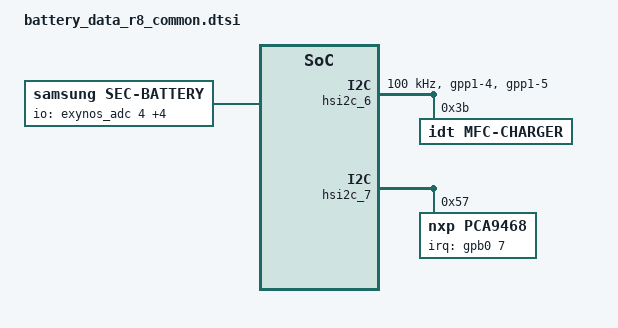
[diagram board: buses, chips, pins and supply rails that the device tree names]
/*
 * SAMSUNG UNIVERSAL9830 board device tree source
 *
 * Copyright (c) 2018 Samsung Electronics Co., Ltd.
 *		http://www.samsung.com
 *
 * This program is free software; you can redistribute it and/or modify
 * it under the terms of the GNU General Public License version 2 as
 * published by the Free Software Foundation.
 */

/ {
	fragment@battery {
		target-path = "/";
		__overlay__ {
			sec-direct-charger {
				status = "okay";
				compatible = "samsung,sec-direct-charger";

				charger,battery_name = "battery";
				charger,main_charger = "max77705-charger";
				charger,direct_charger = "pca9468-charger";

				charger,dchg_min_current = <2000>;
				charger,dchg_temp_low_threshold = <180>;
				charger,dchg_temp_high_threshold = <420>;
			};

			battery {
				status = "okay";
				compatible = "samsung,sec-battery";

				pinctrl-names = "default";
				/* battery,irq_gpio = <&gpa1 6 0>; */

				battery,vendor = "Battery";
				battery,charger_name = "sec-direct-charger";
				battery,fuelgauge_name = "max77705-fuelgauge";
				battery,wireless_charger_name = "mfc-charger";
				battery,technology = <2>; /* POWER_SUPPLY_TECHNOLOGY_LION */
				battery,fgsrc_switch_name = "max77705-charger"; /* Fuelgauge voltage source */

				battery,batt_data_version = <3>;

				battery,chip_vendor = "LSI";
				battery,temp_adc_type = <1>; /* SEC_BATTERY_ADC_TYPE_AP */

				battery,temp_check_type = <2>; /* SEC_BATTERY_TEMP_CHECK_TEMP */
				battery,usb_temp_check_type = <2>;
				battery,chg_temp_check_type = <2>;
				battery,wpc_temp_check_type = <2>;
				battery,dchg_temp_check_type = <2>;

				battery,thermal_source = <2>; /* SEC_BATTERY_THERMAL_SOURCE_ADC */
				battery,usb_thermal_source = <2>;
				battery,chg_thermal_source = <2>;
				battery,wpc_thermal_source = <2>;
				battery,dchg_thermal_source = <3>; /* SEC_BATTERY_THERMAL_SOURCE_CHG_ADC */

				battery,polling_time = <10 30 30 30 3600>;

				battery,temp_table_adc = <311 387 417 482 558 649 802 937 1072 1242 1411 1616
					1821 2007 2244 2483 2708 2926 3125 3305 3451 3580 3694>;
				battery,temp_table_data = <900 850 800 750 700 650 600 550 500 450 400 350
					300 250 200 150 100 50 0 (-50) (-100) (-150) (-200)>;

				battery,usb_temp_table_adc = <268 370 402 472 552 646 803 941 1079 1251 1423 1626
					1830 2012 2247 2480 2701 2910 3101 3274 3421 3545 3653>;
				battery,usb_temp_table_data = <900 850 800 750 700 650 600 550 500 450 400 350
					300 250 200 150 100 50 0 (-50) (-100) (-150) (-200)>;

				battery,chg_temp_table_adc = <221 341 366 432 499 600 751 884 1018 1185 1353 1555
					1757 1937 2177 2410 2634 2850 3047 3228 3381 3512 3617>;
				battery,chg_temp_table_data = <900 850 800 750 700 650 600 550 500 450 400 350
					300 250 200 150 100 50 0 (-50) (-100) (-150) (-200)>;

				battery,wpc_temp_table_adc = <311 387 417 482 558 649 802 937 1072 1242 1411 1616
					1821 2007 2244 2483 2708 2926 3125 3305 3451 3580 3694>;
				battery,wpc_temp_table_data = <900 850 800 750 700 650 600 550 500 450 400 350
					300 250 200 150 100 50 0 (-50) (-100) (-150) (-200)>;

				battery,dchg_temp_table_adc = <89148 144044 156009 184161 217005 258060 326329 386621 446913 523158 599403 691835
					784268 866847 974763 1082679 1183557 1279743 1370064 1451001 1520208 1577685 1624605>;
				battery,dchg_temp_table_data = <900 850 800 750 700 650 600 550 500 450 400 350
					300 250 200 150 100 50 0 (-50) (-100) (-150) (-200)>;

				battery,wireless_cc_cv = <85>;
				battery,wpc_cc_cv_vout = <5500>;
				battery,wpc_cv_call_vout = <5000>;
				battery,wpc_cc_call_vout = <5000>;
				battery,wpc_det = <&gpa2 0 0>;
				battery,wpc_en = <&gpm10 0 0>;
				battery,wpc_int = <&gpa3 2 0>;
				battery,hv_vout_wa = <0x41>; /* WC vout 10.0V */
				battery,adc_check_count = <5>;

				battery,cable_check_type = <4>; /* SEC_BATTERY_CABLE_CHECK_PSY */
				battery,cable_source_type = <1>; /* SEC_BATTERY_CABLE_SOURCE_EXTERNAL */
				battery,polling_type = <1>; /* SEC_BATTERY_MONITOR_ALARM */
				battery,monitor_initial_count = <0>;

				battery,battery_check_type = <0>; /* SEC_BATTERY_CHECK_NONE */
				battery,check_count = <0>;
				battery,check_adc_max = <1440>;
				battery,check_adc_min = <0>;

				battery,ovp_uvlo_check_type = <3>; /* SEC_BATTERY_OVP_UVLO_CHGPOLLING */

				battery,temp_check_count = <1>;
				battery,temp_highlimit_threshold_event = <700>;
				battery,temp_highlimit_recovery_event = <680>;
				battery,temp_high_threshold_event = <500>;
				battery,temp_high_recovery_event = <480>;
				battery,temp_low_threshold_event = <0>;
				battery,temp_low_recovery_event = <20>;
				battery,temp_highlimit_threshold_normal = <700>;
				battery,temp_highlimit_recovery_normal = <680>;
				battery,temp_high_threshold_normal = <500>;
				battery,temp_high_recovery_normal = <480>;
				battery,temp_low_threshold_normal = <0>;
				battery,temp_low_recovery_normal = <20>;
				battery,temp_highlimit_threshold_lpm = <700>;
				battery,temp_highlimit_recovery_lpm = <680>;
				battery,temp_high_threshold_lpm = <500>;
				battery,temp_high_recovery_lpm = <480>;
				battery,temp_low_threshold_lpm = <0>;
				battery,temp_low_recovery_lpm = <20>;
				battery,wpc_high_threshold_normal = <450>;
				battery,wpc_high_recovery_normal = <430>;
				battery,wpc_low_threshold_normal = <0>;
				battery,wpc_low_recovery_normal = <20>;
				battery,tx_high_threshold = <450>;
				battery,tx_high_recovery = <400>;
				battery,tx_low_threshold = <0>;
				battery,tx_low_recovery = <50>;
				battery,full_check_type = <2>; /* SEC_BATTERY_FULLCHARGED_FUELGAUGE */
				battery,full_check_type_2nd = <2>; /* SEC_BATTERY_FULLCHARGED_FUELGAUGE */
				battery,full_check_count = <1>;
				battery,chg_gpio_full_check = <0>;
				battery,chg_polarity_full_check = <1>;

				battery,chg_high_temp = <470>;
				battery,chg_high_temp_recovery = <450>;

				battery,dchg_high_temp = <520>;
				battery,dchg_high_temp_recovery = <460>;
				battery,dchg_high_batt_temp = <400>;
				battery,dchg_high_batt_temp_recovery = <380>;

				battery,chg_input_limit_current = <1000>;
				battery,chg_charging_limit_current = <1900>;
				battery,dchg_input_limit_current = <1000>;
				battery,dchg_charging_limit_current = <2000>;

				battery,charging_limit_by_tx_check = <1>;
				battery,charging_limit_current_by_tx = <1100>;

				battery,wpc_temp_control_source = <1>; /* TEMP_CONTROL_SOURCE_BAT_THM = WPC_THM */
				battery,wpc_high_temp = <410>;
				battery,wpc_high_temp_recovery = <380>;
				battery,wpc_input_limit_current = <600>;
				battery,wpc_charging_limit_current = <1000>;
				battery,wpc_temp_lcd_on_control_source = <1>; /* TEMP_CONTROL_SOURCE_BAT_THM = WPC_THM */
				battery,wpc_lcd_on_high_temp = <410>;
				battery,wpc_lcd_on_high_temp_rec = <380>;
				battery,wpc_lcd_on_input_limit_current = <450>;

				battery,wpc_store_high_temp = <360>;
				battery,wpc_store_high_temp_recovery = <340>;
				battery,wpc_store_lcd_on_high_temp = <360>;
				battery,wpc_store_lcd_on_high_temp_rec = <300>;
				battery,wpc_store_lcd_on_charging_limit_current = <400>;

				battery,sleep_mode_limit_current = <800>;
				battery,wc_full_input_limit_current = <100>;

				battery,mix_high_temp = <420>;
				battery,mix_high_chg_temp = <500>;
				battery,mix_high_dc_temp = <580>;
				battery,mix_high_temp_recovery = <390>;

				/* SEC_BATTERY_FULL_CONDITION_NOTIMEFULL | SEC_BATTERY_FULL_CONDITION_VCELL */
				battery,full_condition_type = <9>;
				battery,full_condition_soc = <93>;
				battery,full_condition_vcell = <4330>;

				battery,recharge_check_count = <1>;
				battery,recharge_condition_type = <4>; /* SEC_BATTERY_RECHARGE_CONDITION_VCELL */
				battery,recharge_condition_soc = <98>;
				battery,recharge_condition_vcell = <4310>;

				battery,charging_total_time = <14400>;
				battery,hv_charging_total_time = <10800>;
				battery,normal_charging_total_time = <18000>;
				battery,usb_charging_total_time = <36000>;
				battery,recharging_total_time = <5400>;
				battery,charging_reset_time = <0>;

				battery,chg_float_voltage = <4380>;
				battery,chg_ocp_current = <0>;
				battery,chg_ocp_dtc = <100>;

				battery,swelling_high_temp_block = <420>;
				battery,swelling_high_temp_recov = <400>;
				battery,swelling_low_temp_block_1st = <150>;
				battery,swelling_low_temp_recov_1st = <170>;
				battery,swelling_low_temp_block_2nd = <50>;
				battery,swelling_low_temp_recov_2nd = <70>;
				battery,swelling_low_temp_3rd_ctrl;
				battery,swelling_low_temp_block_3rd = <180>;
				battery,swelling_low_temp_recov_3rd = <200>;

				battery,swelling_low_temp_current = <1048>;	/* 0.24C */
				battery,swelling_low_temp_current_2nd = <437>;	/* 0.1C */
				battery,swelling_low_temp_current_3rd = <3146>;	/* 0.72C */
				battery,swelling_low_temp_topoff = <218>;	/* 0.05C */
				battery,swelling_high_temp_current = <1573>;	/* 0.36C */
				battery,swelling_high_temp_topoff = <218>;	/* 0.05C */
				battery,swelling_wc_high_temp_current = <1048>;	/* 0.24C */
				battery,swelling_wc_low_temp_current = <1048>;	/* 0.24C */
 				battery,swelling_wc_low_temp_current_2nd = <437>;	/* 0.1C */
				battery,swelling_wc_low_temp_current_3rd = <3146>;	/* 0.72C */
				battery,swelling_low_rechg_thr = <180>;

				battery,swelling_drop_float_voltage = <4150>;
				battery,swelling_high_rechg_voltage = <4000>;
				battery,swelling_low_rechg_voltage = <4000>;
				battery,wa_float_voltage = <4050>;

				battery,siop_event_check_type = <1>;
				battery,siop_call_cv_current = <300>;
				battery,siop_call_cc_current = <300>;

				battery,siop_input_limit_current = <1200>;
				battery,siop_charging_limit_current = <1000>;
				battery,siop_hv_input_limit_current = <700>;
				battery,siop_hv_charging_limit_current = <1000>;
				battery,siop_apdo_input_limit_current = <1200>;
				battery,siop_apdo_charging_limit_current = <2000>;

				battery,siop_wireless_input_limit_current = <600>;
				battery,siop_wireless_charging_limit_current = <850>;
				battery,siop_hv_wireless_input_limit_current = <700>;
				battery,siop_hv_wireless_charging_limit_current = <850>;
				battery,siop_store_hv_wireless_input_limit_current = <450>;
				battery,input_current_by_siop_20 = <500>;
				battery,store_mode_buckoff;

				battery,ttf_hv_charge_current = <2600>;
				battery,ttf_hv_wireless_charge_current = <1370>;
				battery,ttf_wireless_charge_current = <830>;
				battery,ttf_dc25_charge_current = <3800>;

				battery,rp_current_rp1 = <500>;
				battery,rp_current_rp2 = <1500>;
				battery,rp_current_rp3 = <3000>;
				battery,rp_current_rdu_rp3 = <2100>;
				battery,rp_current_abnormal_rp3 = <1800>;

				battery,pd_charging_charge_power = <15000>;
				battery,max_charging_current = <3150>;
				battery,max_charging_charge_power = <25000>; /* 25W */
				battery,battery_full_capacity = <4500>;

				/* cycle, chg_float_voltage, recharge_condition_vcell, full_condition_vcell, full_condition_soc */
				battery,age_data = <0 4380 4310 4330 93
						300 4360 4290 4310 92
						400 4340 4270 4290 91
						700 4320 4250 4270 90
						1000 4270 4200 4220 89>;

				battery,health_condition = <
					/* CYCLE ASOC */
					900 75	/* GOOD */
					1200 65 /* NORMAL */
					1500 55 /* AGED */
					>;

				/* step charging option */
				battery,step_charging_type = <0>;

				/* direct step charging option */
				battery,dc_step_chg_type = <0x6B>; /* origin(0x6B), soc option is temporary removed */
				battery,dc_step_chg_charge_power = <22000>;
				battery,dc_step_chg_step = <3>;
				battery,dc_step_chg_step_2nd = <0>;
				battery,dc_step_chg_cond_vol = <4125 4250 4380>; /*<25w 3step> STEP_CHARGING_CONDITION_VOLTAGE */ 
				battery,dc_step_chg_cond_iin = <2030 1825 0>; /* <25w 3step> STEP_CHARGING_CONDITION_INPUT_CURRENT */
				battery,dc_step_chg_iin_check_cnt = <3>;
				battery,dc_step_chg_val_vfloat = <4125 4250 4380>; /* <25w 3step> STEP_CHARGING_CONDITION_FLOAT_VOLTAGE */
				battery,dc_step_chg_val_iout = <5290 4090 3670>; /* <25w 3step> */
				battery,dc_step_chg_cond_soc = <20 50 100 20 50 100 20 50 100 20 50 100 20 50 100>; /* <25w 3step> STEP_CHARGING_CONDITION_SOC */

				battery,pre_afc_input_current = <500>; /* mA */
				battery,prepare_ta_delay = <0>; /* msec */

				battery,max_input_voltage = <9000>; /* mV */
				battery,max_input_current = <3000>;  /* mA */

				battery,enable_sysovlo_irq;
				battery,enable_noise_wa;
				battery,dis_auto_shipmode_temp_ctrl;
				battery,float_voltage_in_factory = <4200>;

				battery,standard_curr = <3670>;
				battery,expired_time = <9240>;
				battery,recharging_expired_time = <5400>;

				battery,cisd_max_voltage_thr = <4430>; /* battery ovp detection voltage */

				battery,cisd_alg_index = <8>;
				battery,ignore_cisd_index = <0 0>;
				battery,ignore_cisd_index_d = <0 80>; /* Do not use BUCK_OFF_PER_DAY, DROP_SENSOR_PER_DAY */

				battery,tx_stop_capacity = <30>;
				battery,tx_minduty_default = <20>;
				battery,tx_minduty_5V = <50>;

				battery,tx_uno_iout = <1500>;
				battery,tx_mfc_iout_gear = <1500>;
				battery,tx_mfc_iout_phone = <1100>;
				battery,tx_mfc_iout_phone_5v = <300>;
				battery,tx_mfc_iout_lcd_on = <900>;

				battery,wc_current_step = <30>;

				battery,support_unknown_wpcthm;

				io-channels = <&exynos_adc 4>, <&exynos_adc 3>, <&exynos_adc 11>, <&exynos_adc 4>, <&exynos_adc 1>;
				io-channel-names = "adc-temp", "adc-chg-temp", "adc-in-bat", "adc-wpc-temp", "adc-usb-temp";
				#io-channel-cells = <5>;
				io-channel-ranges;

				battery,snkcap_data = /bits/ 8 <0x04 0x2C 0x91 0x01 0x36 0xC8 0xD0 0x02 0x00 0xC8 0x90
								0x41 0x8B 0x35 0x21 0xDC 0xC0>;
			};

			max77705-fuelgauge {
				status = "okay";
				fuelgauge,fuel_alert_soc = <1>;
				fuelgauge,jig_gpio = <&gpm23 0 0>;
				fuelgauge,jig_low_active;
				fuelgauge,capacity_max = <1000>;
				fuelgauge,capacity_max_margin = <300>;
				fuelgauge,capacity_min = <0>;
				fuelgauge,capacity_calculation_type = <0x5C>;
				fuelgauge,repeated_fuelalert;
				fuelgauge,using_temp_compensation;
				fuelgauge,low_temp_limit = <100>;
				fuelgauge,using_hw_vempty;
				fuelgauge,v_empty = <0xA7E2>; /* Empty: 3400mV, Recover: 4000mV */
				fuelgauge,v_empty_origin = <0x7D54>; /* Empty: 2500mV, Recover: 3360mV */
				fuelgauge,sw_v_empty_voltage = <3200>;
				fuelgauge,sw_v_empty_voltage_cisd = <3100>;
				fuelgauge,sw_v_empty_recover_voltage = <3480>;
				fuelgauge,qrtable20 = <0x0F00>;
				fuelgauge,qrtable30 = <0x0B00>;
				fuelgauge,fg_resistor = <2>;
				fuelgauge,capacity = <0x0FEF>;
				/* fullcapnom(=capacity), dPacc, dQacc,  rcomp0, tempco */
				fuelgauge,fg_reset_wa_data = <0x0FEF 0x3200 0x03FB 0x003E 0x2534>;
				/*fuelgauge,auto_discharge_en;*/
				fuelgauge,discharge_temp_threshold = <600>;
				fuelgauge,discharge_volt_threshold = <4200>;

				fuelgauge,lost_soc_trig_soc = <1000>; /* 100.0% */
				fuelgauge,lost_soc_trig_d_soc = <20>; /* 2% */
				fuelgauge,lost_soc_trig_scale = <2>; /* 2x */
				fuelgauge,lost_soc_guarantee_soc = <30>; /* 3.0% */
				fuelgauge,lost_soc_min_vol = <3200>; /* 3200mV */

				fuelgauge,ttf_capacity = <3700>;
				fuelgauge,cv_data = <
					3593 802 1500
					3486 816 1440
					3331 834 1380
					3020 843 1320
					2882 855 1260
					2658 866 1200
					2458 877 1140
					2251 886 1080
					2133 895 1020
					1920 904 960
					1824 911 900
					1757 919 840
					1571 925 780
					1482 932 720
					1405 937 660
					1310 943 600
					1228 948 540
					1165 953 480
					1021 957 420
					1006 961 360
					915 965 300
					777 969 240
					768 976 210
					764 972 180
					744 973 150
					726 975 120
					705 976 90
					687 977	60
					665 980 30
					655 990	0
				>;
			};

			/* sec_battery_cable
			 *   0	UNKNOWN,
			 *   1	NONE,
			 *   2	PREPARE_TA,
			 *   3	TA,
			 *   4	USB,
			 *   5	USB_CDP,
			 *   6	9V_TA,
			 *   7	9V_ERR,
			 *   8	9V_UNKNOWN,
			 *   9	12V_TA,
			 *  10	WIRELESS,
			 *  11	HV_WIRELESS,
			 *  12	PMA_WIRELESS,
			 *  13	WIRELESS_PACK,
			 *  14	WIRELESS_HV_PACK,
			 *  15	WIRELESS_STAND,
			 *  16	WIRELESS_HV_STAND,
			 *  17	QC20,
			 *  18	QC30,
			 *  19	PDIC,
			 *  20	UARTOFF,
			 *  21	OTG,
			 *  22	LAN_HUB,
			 *  23	POWER_SHARING,
			 *  24	HMT_CONNECTED,
			 *  25	HMT_CHARGE,
			 *  26	HV_TA_CHG_LIMIT,
			 *  27	WIRELESS_VEHICLE,
			 *  28	WIRELESS_HV_VEHICLE,
			 *  29	PREPARE_WIRELESS_HV,
			 *  30	TIMEOUT,
			 *  31	SMART_OTG,
			 *  32	SMART_NOTG,
			 *  33	WIRELESS_TX,
			 *  34	HV_WIRELESS_20,
			 *  35	HV_WIRELESS_20_LIMIT,
			 *  36	WIRELESS_FAKE,
			 *  37  PREPARE_WIRELESS_20,
			 *  38	CABLE_PDIC_APDO,
			 *  39	CABLE_MAX,
			 */

			cable-info {
				default_input_current = <1800>;
				default_charging_current = <2100>;
				full_check_current_1st = <655>;
				full_check_current_2nd = <218>;

				current_group_1 {
					cable_number = <2 19 21 22 23 30>;
					input_current = <500>;
					charging_current = <500>;
				};
				current_group_2 {
					cable_number = <25 31>;
					input_current = <1000>;
					charging_current = <1000>;
				};
				current_group_3 {
					cable_number = <5 32>;
					input_current = <1500>;
					charging_current = <1500>;
				};
				current_group_4 {
					cable_number = <6 7 8>;
					input_current = <1650>;
					charging_current = <3150>;
				};
				current_group_5 {
					cable_number = <9>;
					input_current = <1650>;
					charging_current = <3150>;
				};
				current_group_6 {
					cable_number = <10 12 15 27 33 35>;
					input_current = <800>;
					charging_current = <3150>;
				};
				current_group_7 {
					cable_number = <13>;
					input_current = <700>;
					charging_current = <3150>;
				};
				current_group_8 {
					cable_number = <24>;
					input_current = <1000>;
					charging_current = <450>;
				};
				current_group_9 {
					cable_number = <26>;
					input_current = <2000>;
					charging_current = <1800>;
				};
				current_group_10 {
					cable_number = <11 14 16 28>;
					input_current = <750>;
					charging_current = <3150>;
				};
				current_group_11 {
					cable_number = <29 36 37>;
					input_current = <500>;
					charging_current = <1400>;
				};
				current_group_12 {
					cable_number = <1 4>;
					input_current = <475>;
					charging_current = <550>;
				};
				current_group_13 {
					cable_number = <34>;
					input_current = <500>;
					charging_current = <3150>;
				};
			};
			wireless-power-info {
				current_group_0 {
					wireless_power_class = <1>;
					vout = <5500>;
					input_current_limit = <800>;
					fast_charging_current = <3150>;
					ttf_charge_current = <840>;
					rx_power = <4500>;
				};
				current_group_1 {
					wireless_power_class = <2>;
					vout = <10000>;
					input_current_limit = <750>;
					fast_charging_current = <3150>;
					ttf_charge_current = <1380>;
					rx_power = <7500>;
				};
				current_group_2 {
					wireless_power_class = <2>;
					vout = <11000>;
					input_current_limit = <825>;
					fast_charging_current = <3150>;
					ttf_charge_current = <1730>;
					rx_power = <9075>;
				};
				current_group_3 {
					wireless_power_class = <2>;
					vout = <11000>;
					input_current_limit = <1000>;
					fast_charging_current = <3150>;
					ttf_charge_current = <1920>;
					rx_power = <11000>;
				};
			};
		}; /* end of __overlay__ */
	}; /* end of fragment */
};

&pinctrl_0 {
	pdet_b: pdet-b {
		samsung,pins = "gpa0-6";
		samsung,pin-function = <0>;
		samsung,pin-pud = <1>;
		samsung,pin-drv = <0>;
		samsung,pin-con-pdn = <3>;
		samsung,pin-pud-pdn = <3>;
	};

	wpc_det: wpc-det {
		samsung,pins = "gpa2-0";
		samsung,pin-function = <0xf>;
		samsung,pin-pud = <0>;
		samsung,pin-drv = <0>;
	};

	ping_nen: ping-nen {
		samsung,pins = "gpa2-1";
		samsung,pin-function = <0>;
		samsung,pin-pud = <1>;
		samsung,pin-drv = <0>;
		samsung,pin-con-pdn = <3>;
		samsung,pin-pud-pdn = <3>;
	};

	wpc_int: wpc-int {
		samsung,pins = "gpa3-1";
		samsung,pin-function = <0xf>;
		samsung,pin-pud = <0>;
		samsung,pin-drv = <0>;
	};

	wchg_pdrc: wchg-pdrc {
		samsung,pins = "gpa4-1";
		samsung,pin-function = <0>;
		samsung,pin-pud = <1>;
		samsung,pin-drv = <0>;
		samsung,pin-con-pdn = <3>;
		samsung,pin-pud-pdn = <3>;
	};
};

&pinctrl_1 {
	wpc_en: wpc-en {
		samsung,pins = "gpm10-0";
		samsung,pin-function = <0x1>;
		samsung,pin-pud = <0>;
		samsung,pin-drv = <0>;
	};
};

&pinctrl_4 {
	mfc_i2c: mfc-i2c {
		samsung,pins = "gpp1-4", "gpp1-5";
		samsung,pin-function = <2>;
		samsung,pin-pud = <0>;
		samsung,pin-drv = <0>;
		samsung,pin-con-pdn = <3>;
		samsung,pin-pud-pdn = <0>;
	};

	bat_id: bat-id {
		samsung,pins = "gpp2-7";
		samsung,pin-function = <0>;
		samsung,pin-pud = <1>;
	};
};

&pinctrl_5 {
	dc_irq: dc-irq {
		samsung,pins = "gpb0-7";
		samsung,pin-function = <0x0f>;
		samsung,pin-pud = <0>;
		samsung,pin-drv = <0>;
		samsung,pin-con-pdn = <3>;
		samsung,pin-pud-pdn = <0>;
	};
};

#define FOD_FLAG_NONE			0
#define FOD_FLAG_ADD			1
#define FOD_FLAG_USE_CC			2
#define FOD_FLAG_USE_DEFAULT	3
#define SET_FOD_CC(_flag)		(FOD_FLAG_ ##_flag)
#define SET_FOD_CV(_flag)		(FOD_FLAG_ ##_flag << 4)
#define SET_FOD_FULL(_flag)		(FOD_FLAG_ ##_flag << 8)

&hsi2c_6 {
	#address-cells = <1>;
	#size-cells = <0>;
	status = "okay";
	pinctrl-names = "default";
	pinctrl-0 = <&mfc_i2c>;
	samsung,stop-after-trans;
	samsung,stand-mode;
	clock-frequency = <100000>;

	mfc-charger@3b {
		compatible = "idt,mfc-charger";
		reg = <0x3b>;
		status = "okay";

		pinctrl-names = "default";
		pinctrl-0 = <&pdet_b &wpc_det &ping_nen &wchg_pdrc &wpc_en &wpc_int>;

		battery,wpc_int = <&gpa3 1 0>;
		battery,wpc_det = <&gpa2 0 0>;
		battery,mst_pwr_en = <&gpm18 0 0>;
		battery,wpc_en = <&gpm10 0 0>;

		battery,charger_name = "max77705-charger";
		battery,fuelgauge_name = "max77705-fuelgauge";
		battery,wireless_charger_name = "mfc-charger";
		battery,wc_cover_rpp = <0x44>;
		battery,phone_fod_threshold = <0x3b>;
		battery,wireless20_vout_list = <9 9 9>; /* WIRELESS_VOUT_11V, 11V, 11V */
		battery,wireless20_vrect_list = <10 11 11>; /* MFC_AFC_CONF_12V_TX, 12.5V, 12.5V */
		battery,wireless20_max_power_list = <2 3 3>; /* SEC_WIRELESS_RX_POWER_12W, 15W, 15W */
		battery,oc_fod1 = <1100>;
		battery,tx_gear_min_op_freq_delay = <4000>;

		fod_list {
			count = <8>;

			pad_0x00 { /* DEFAULT */
				flag = <(SET_FOD_CC(ADD) | SET_FOD_CV(ADD) | SET_FOD_FULL(ADD))>;
				cc = <150 64 142 53 150 38 150 34 155 11 156 8>;
				cv = <150 94 142 83 150 68 150 64 155 41 156 38>;
				full = <255 127 255 127 255 127 255 127 255 127 255 127>;
			};
			pad_0x14 { /* DREAM PAD - PAD TYPE */
				flag = <(SET_FOD_CC(ADD) | SET_FOD_CV(ADD) | SET_FOD_FULL(USE_DEFAULT))>;
				cc = <150 94 142 83 150 68 150 64 155 41 156 38>;
				cv = <150 123 142 113 150 98 150 94 155 71 156 68>;
			};
			pad_0x20 { /* CROWN PAD - PORTAIT MODE */
				flag = <(SET_FOD_CC(ADD) | SET_FOD_CV(ADD) | SET_FOD_FULL(USE_DEFAULT))>;
				cc = <150 94 142 83 150 68 150 64 155 41 156 38>;
				cv = <150 123 142 113 150 98 150 94 155 71 156 68>;
			};
			pad_0x21 { /* CROWN PAD - LANDSCAPE MODE */
				flag = <(SET_FOD_CC(ADD) | SET_FOD_CV(ADD) | SET_FOD_FULL(USE_DEFAULT))>;
				cc = <150 94 142 83 150 68 150 64 155 41 156 38>;
				cv = <150 123 142 113 150 98 150 94 155 71 156 68>;
			};
			pad_0x30 { /* STAR PAD - PORTAIT MODE */
				flag = <(SET_FOD_CC(ADD) | SET_FOD_CV(ADD) | SET_FOD_FULL(USE_DEFAULT))>;
				cc = <150 94 142 83 150 68 150 64 155 41 156 38>;
				cv = <150 123 142 113 150 98 150 94 155 71 156 68>;
			};
			pad_0x31 { /* STAR PAD - PORTAIT MODE */
				flag = <(SET_FOD_CC(ADD) | SET_FOD_CV(ADD) | SET_FOD_FULL(USE_DEFAULT))>;
				cc = <150 94 142 83 150 68 150 64 155 41 156 38>;
				cv = <150 123 142 113 150 98 150 94 155 71 156 68>;
			};
			pad_0x32 { /* STAR PAD - PORTAIT MODE */
				flag = <(SET_FOD_CC(ADD) | SET_FOD_CV(ADD) | SET_FOD_FULL(USE_DEFAULT))>;
				cc = <150 94 142 83 150 68 150 64 155 41 156 38>;
				cv = <150 123 142 113 150 98 150 94 155 71 156 68>;
			};
			pad_0x33 { /* STAR PAD - LANDSCAPE MODE */
				flag = <(SET_FOD_CC(ADD) | SET_FOD_CV(ADD) | SET_FOD_FULL(USE_DEFAULT))>;
				cc = <150 94 142 83 150 68 150 64 155 41 156 38>;
				cv = <150 123 142 113 150 98 150 94 155 71 156 68>;
			};
		};
	};
};

&hsi2c_7 {
	status = "okay";
	pca9468@57 {
		compatible = "nxp,pca9468";
		reg = <0x57>;
		pinctrl-names = "default";
		pinctrl-0     = <&bat_id &dc_irq>;

		pca9468,irq-gpio = <&gpb0 7 0>;
		pca9468,input-current-limit = <2550000>; /* 2.55A */
		pca9468,charging-current = <6000000>; /* 6A */
		pca9468,input-itopoff = <500000>; /* 500mA */
		pca9468,sense-resistance = <0>; /* 5mOhm */
		pca9468,switching-frequency = <3>; /* 980KHz */
		pca9468,ntc-threshold = <0>; /* disable */
		pca9468,chg_gpio_en = <&gpm29 0 0>;
		pca9468,ta-mode = <1>; /* 2:1 charging mode */
	};
};

